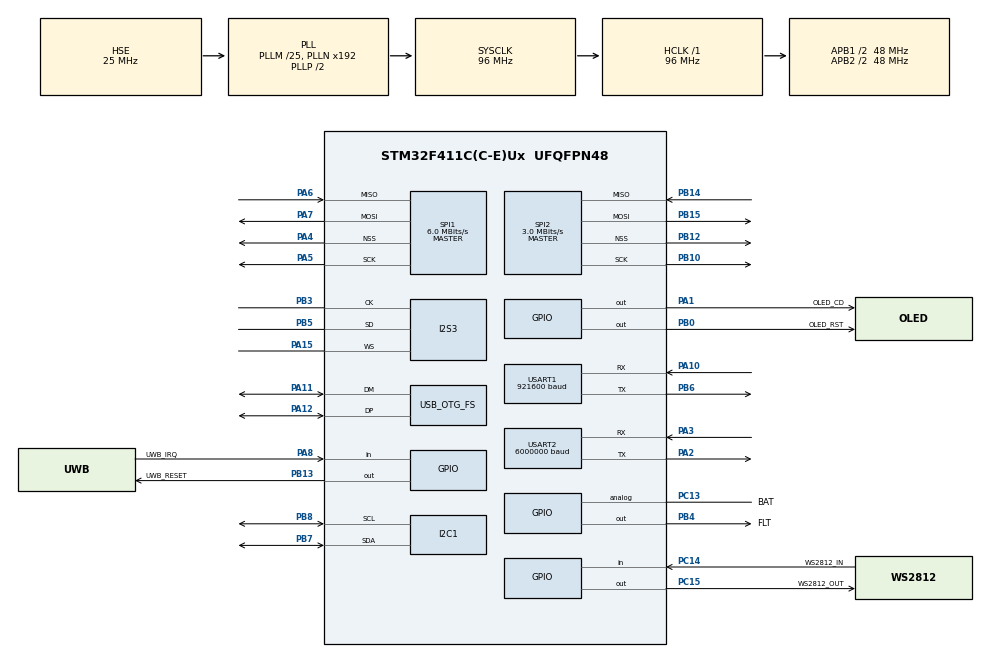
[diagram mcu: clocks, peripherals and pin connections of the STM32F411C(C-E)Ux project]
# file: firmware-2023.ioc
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ADC1.Channel-1\#ChannelRegularConversion=ADC_CHANNEL_VBAT
ADC1.NbrOfConversionFlag=1
ADC1.Rank-1\#ChannelRegularConversion=1
ADC1.SamplingTime-1\#ChannelRegularConversion=ADC_SAMPLETIME_3CYCLES
ADC1.master=1
Dma.MEMTOMEM.0.Direction=DMA_MEMORY_TO_MEMORY
Dma.MEMTOMEM.0.FIFOMode=DMA_FIFOMODE_ENABLE
Dma.MEMTOMEM.0.FIFOThreshold=DMA_FIFO_THRESHOLD_FULL
Dma.MEMTOMEM.0.Instance=DMA2_Stream0
Dma.MEMTOMEM.0.MemBurst=DMA_MBURST_SINGLE
Dma.MEMTOMEM.0.MemDataAlignment=DMA_MDATAALIGN_HALFWORD
Dma.MEMTOMEM.0.MemInc=DMA_MINC_DISABLE
Dma.MEMTOMEM.0.Mode=DMA_NORMAL
Dma.MEMTOMEM.0.PeriphBurst=DMA_PBURST_SINGLE
Dma.MEMTOMEM.0.PeriphDataAlignment=DMA_PDATAALIGN_HALFWORD
Dma.MEMTOMEM.0.PeriphInc=DMA_PINC_ENABLE
Dma.MEMTOMEM.0.Priority=DMA_PRIORITY_LOW
Dma.Request0=MEMTOMEM
Dma.Request1=SPI2_TX
Dma.Request2=SPI1_TX
Dma.Request3=SPI3_TX
Dma.Request4=USART2_RX
Dma.Request5=USART1_RX
Dma.Request6=USART1_TX
Dma.SPI1_TX.2.Direction=DMA_MEMORY_TO_PERIPH
Dma.SPI1_TX.2.FIFOMode=DMA_FIFOMODE_DISABLE
Dma.SPI1_TX.2.Instance=DMA2_Stream3
Dma.SPI1_TX.2.MemDataAlignment=DMA_MDATAALIGN_BYTE
Dma.SPI1_TX.2.MemInc=DMA_MINC_ENABLE
Dma.SPI1_TX.2.Mode=DMA_NORMAL
Dma.SPI1_TX.2.PeriphDataAlignment=DMA_PDATAALIGN_BYTE
Dma.SPI1_TX.2.PeriphInc=DMA_PINC_DISABLE
Dma.SPI1_TX.2.Priority=DMA_PRIORITY_LOW
Dma.SPI2_TX.1.Direction=DMA_MEMORY_TO_PERIPH
Dma.SPI2_TX.1.FIFOMode=DMA_FIFOMODE_DISABLE
Dma.SPI2_TX.1.Instance=DMA1_Stream4
Dma.SPI2_TX.1.MemDataAlignment=DMA_MDATAALIGN_BYTE
Dma.SPI2_TX.1.MemInc=DMA_MINC_ENABLE
Dma.SPI2_TX.1.Mode=DMA_NORMAL
Dma.SPI2_TX.1.PeriphDataAlignment=DMA_PDATAALIGN_BYTE
Dma.SPI2_TX.1.PeriphInc=DMA_PINC_DISABLE
Dma.SPI2_TX.1.Priority=DMA_PRIORITY_LOW
Dma.SPI3_TX.3.Direction=DMA_MEMORY_TO_PERIPH
Dma.SPI3_TX.3.FIFOMode=DMA_FIFOMODE_DISABLE
Dma.SPI3_TX.3.Instance=DMA1_Stream5
Dma.SPI3_TX.3.MemDataAlignment=DMA_MDATAALIGN_HALFWORD
Dma.SPI3_TX.3.MemInc=DMA_MINC_ENABLE
Dma.SPI3_TX.3.Mode=DMA_NORMAL
Dma.SPI3_TX.3.PeriphDataAlignment=DMA_PDATAALIGN_HALFWORD
Dma.SPI3_TX.3.PeriphInc=DMA_PINC_DISABLE
Dma.SPI3_TX.3.Priority=DMA_PRIORITY_LOW
Dma.USART1_RX.5.Direction=DMA_PERIPH_TO_MEMORY
Dma.USART1_RX.5.FIFOMode=DMA_FIFOMODE_DISABLE
Dma.USART1_RX.5.Instance=DMA2_Stream5
Dma.USART1_RX.5.MemDataAlignment=DMA_MDATAALIGN_BYTE
Dma.USART1_RX.5.MemInc=DMA_MINC_ENABLE
Dma.USART1_RX.5.Mode=DMA_CIRCULAR
Dma.USART1_RX.5.PeriphDataAlignment=DMA_PDATAALIGN_BYTE
Dma.USART1_RX.5.PeriphInc=DMA_PINC_DISABLE
Dma.USART1_RX.5.Priority=DMA_PRIORITY_LOW
Dma.USART1_TX.6.Direction=DMA_MEMORY_TO_PERIPH
Dma.USART1_TX.6.FIFOMode=DMA_FIFOMODE_DISABLE
Dma.USART1_TX.6.Instance=DMA2_Stream7
Dma.USART1_TX.6.MemDataAlignment=DMA_MDATAALIGN_BYTE
Dma.USART1_TX.6.MemInc=DMA_MINC_ENABLE
Dma.USART1_TX.6.Mode=DMA_NORMAL
Dma.USART1_TX.6.PeriphDataAlignment=DMA_PDATAALIGN_BYTE
Dma.USART1_TX.6.PeriphInc=DMA_PINC_DISABLE
Dma.USART1_TX.6.Priority=DMA_PRIORITY_LOW
Dma.USART2_RX.4.Direction=DMA_PERIPH_TO_MEMORY
Dma.USART2_RX.4.FIFOMode=DMA_FIFOMODE_DISABLE
Dma.USART2_RX.4.Instance=DMA1_Stream7
Dma.USART2_RX.4.MemDataAlignment=DMA_MDATAALIGN_BYTE
Dma.USART2_RX.4.MemInc=DMA_MINC_ENABLE
Dma.USART2_RX.4.Mode=DMA_CIRCULAR
Dma.USART2_RX.4.PeriphDataAlignment=DMA_PDATAALIGN_BYTE
Dma.USART2_RX.4.PeriphInc=DMA_PINC_DISABLE
Dma.USART2_RX.4.Priority=DMA_PRIORITY_LOW
I2C1.I2C_Mode=I2C_Fast
I2S3.AudioFreq=I2S_AUDIOFREQ_48K
I2S3.ErrorAudioFreq=0.0 %
I2S3.FullDuplexMode=I2S_FULLDUPLEXMODE_DISABLE
I2S3.Instance=SPI$Index
I2S3.RealAudioFreq=48.0 KHz
I2S3.VirtualMode=I2S_MODE_MASTER
Mcu.Family=STM32F4
Mcu.Name=STM32F411C(C-E)Ux
Mcu.Package=UFQFPN48
NVIC.DMA1_Stream4_IRQn=true\:0\:0\:false\:false\:true\:false\:true\:true
NVIC.DMA1_Stream5_IRQn=true\:0\:0\:false\:false\:true\:false\:true\:true
NVIC.DMA1_Stream7_IRQn=true\:0\:0\:false\:false\:true\:false\:true\:true
NVIC.DMA2_Stream3_IRQn=true\:0\:0\:false\:false\:true\:false\:true\:true
NVIC.DMA2_Stream5_IRQn=true\:0\:0\:false\:false\:true\:false\:true\:true
NVIC.DMA2_Stream7_IRQn=true\:0\:0\:false\:false\:true\:false\:true\:true
NVIC.OTG_FS_IRQn=true\:0\:0\:false\:false\:true\:false\:true\:true
NVIC.PriorityGroup=NVIC_PRIORITYGROUP_4
PA1.GPIO_Label=OLED_CD
PA1.Signal=GPIO_Output
PA10.Mode=Asynchronous
PA10.Signal=USART1_RX
PA11.Mode=Device_Only
PA11.Signal=USB_OTG_FS_DM
PA12.Mode=Device_Only
PA12.Signal=USB_OTG_FS_DP
PA13.Mode=Serial_Wire
PA13.Signal=SYS_JTMS-SWDIO
PA14.Mode=Serial_Wire
PA14.Signal=SYS_JTCK-SWCLK
PA15.Mode=Half_Duplex_Master
PA15.Signal=I2S3_WS
PA2.Mode=Asynchronous
PA2.Signal=USART2_TX
PA3.Mode=Asynchronous
PA3.Signal=USART2_RX
PA4.Mode=NSS_Signal_Hard_Output
PA4.Signal=SPI1_NSS
PA5.Mode=Full_Duplex_Master
PA5.Signal=SPI1_SCK
PA6.Mode=Full_Duplex_Master
PA6.Signal=SPI1_MISO
PA7.Mode=Full_Duplex_Master
PA7.Signal=SPI1_MOSI
PA8.GPIO_Label=UWB_IRQ
PA8.Signal=GPIO_Input
PA9.Signal=USB_OTG_FS_VBUS
PB0.GPIO_Label=OLED_RST
PB0.Signal=GPIO_Output
PB10.Mode=Full_Duplex_Master
PB10.Signal=SPI2_SCK
PB12.Mode=NSS_Signal_Hard_Output
PB12.Signal=SPI2_NSS
PB13.GPIO_Label=UWB_RESET
PB13.Signal=GPIO_Output
PB14.Mode=Full_Duplex_Master
PB14.Signal=SPI2_MISO
PB15.Mode=Full_Duplex_Master
PB15.Signal=SPI2_MOSI
PB3.Mode=Half_Duplex_Master
PB3.Signal=I2S3_CK
PB4.GPIO_Label=FLT
PB4.Signal=GPIO_Output
PB5.Mode=Half_Duplex_Master
PB5.Signal=I2S3_SD
PB6.Mode=Asynchronous
PB6.Signal=USART1_TX
PB7.GPIO_Pu=GPIO_PULLUP
PB7.Mode=I2C
PB7.Signal=I2C1_SDA
PB8.GPIO_Pu=GPIO_PULLUP
PB8.Mode=I2C
PB8.Signal=I2C1_SCL
PC13-ANTI_TAMP.GPIO_Label=BAT
PC13-ANTI_TAMP.Signal=GPIO_Analog
PC14-OSC32_IN.GPIO_Label=WS2812_IN
PC14-OSC32_IN.Signal=GPIO_Input
PC15-OSC32_OUT.GPIO_Label=WS2812_OUT
PC15-OSC32_OUT.Signal=GPIO_Output
PH0\ -\ OSC_IN.Mode=HSE-External-Oscillator
PH0\ -\ OSC_IN.Signal=RCC_OSC_IN
PH1\ -\ OSC_OUT.Mode=HSE-External-Oscillator
PH1\ -\ OSC_OUT.Signal=RCC_OSC_OUT
ProjectManager.HeapSize=0x400
ProjectManager.StackSize=0x400
ProjectManager.TargetToolchain=Makefile
RCC.48MHZClocksFreq_Value=48000000
RCC.AHBFreq_Value=96000000
RCC.APB1CLKDivider=RCC_HCLK_DIV2
RCC.APB1Freq_Value=48000000
RCC.APB1TimFreq_Value=96000000
RCC.APB2CLKDivider=RCC_HCLK_DIV2
RCC.APB2Freq_Value=48000000
RCC.APB2TimFreq_Value=96000000
RCC.CortexFreq_Value=96000000
RCC.HCLKFreq_Value=96000000
RCC.HSE_VALUE=25000000
RCC.HSI_VALUE=16000000
RCC.LSE_VALUE=32768
RCC.PLLI2SM=25
RCC.PLLI2SN=384
RCC.PLLM=25
RCC.SYSCLKFreq_VALUE=96000000
RCC.SYSCLKSource=RCC_SYSCLKSOURCE_PLLCLK
RCC.VCOOutputFreq_Value=192000000
SPI1.BaudRatePrescaler=SPI_BAUDRATEPRESCALER_8
SPI1.CalculateBaudRate=6.0 MBits/s
SPI1.Direction=SPI_DIRECTION_2LINES
SPI1.Mode=SPI_MODE_MASTER
SPI1.VirtualNSS=VM_NSSHARD
SPI1.VirtualType=VM_MASTER
SPI2.BaudRatePrescaler=SPI_BAUDRATEPRESCALER_16
SPI2.CalculateBaudRate=3.0 MBits/s
SPI2.Direction=SPI_DIRECTION_2LINES
SPI2.Mode=SPI_MODE_MASTER
SPI2.VirtualNSS=VM_NSSHARD
SPI2.VirtualType=VM_MASTER
USART1.BaudRate=921600
USART1.Mode=MODE_TX_RX
USART1.OverSampling=UART_OVERSAMPLING_8
USART1.VirtualMode=VM_ASYNC
USART2.BaudRate=6000000
USART2.Mode=MODE_TX_RX
USART2.OverSampling=UART_OVERSAMPLING_8
USART2.VirtualMode=VM_ASYNC
USB_DEVICE.CLASS_NAME_FS=AUDIO
USB_DEVICE.MANUFACTURER_STRING=LeekLabs International
USB_DEVICE.PID_AUDIO_FS=14649
USB_DEVICE.PRODUCT_STRING_AUDIO_FS=Negicon
USB_DEVICE.USBD_AUDIO_FREQ=48000
USB_DEVICE.VID=14649
USB_DEVICE.VirtualMode=Audio
USB_DEVICE.VirtualModeFS=Audio_FS
USB_OTG_FS.VirtualMode=Device_Only
VP_ADC1_Vbat_Input.Mode=IN-Vbat
VP_TIM1_VS_ClockSourceINT.Mode=Internal
VP_USB_DEVICE_VS_USB_DEVICE_AUDIO_FS.Mode=AUDIO_FS
board=custom

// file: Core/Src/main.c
/* USER CODE BEGIN Header */
/**
  ******************************************************************************
  * @file           : main.c
  * @brief          : Main program body
  ******************************************************************************
  * @attention
  *
  * Copyright (c) 2023 STMicroelectronics.
  * All rights reserved.
  *
  * This software is licensed under terms that can be found in the LICENSE file
  * in the root directory of this software component.
  * If no LICENSE file comes with this software, it is provided AS-IS.
  *
  ******************************************************************************
  */
/* USER CODE END Header */
#include "main.h"
#include "usb_device.h"

/* USER CODE BEGIN Includes */
#include <stdio.h>
#include <stdint.h>
/* USER CODE END Includes */

ADC_HandleTypeDef hadc1;

I2C_HandleTypeDef hi2c1;

I2S_HandleTypeDef hi2s3;
DMA_HandleTypeDef hdma_spi3_tx;

SPI_HandleTypeDef hspi1;
SPI_HandleTypeDef hspi2;
DMA_HandleTypeDef hdma_spi1_tx;
DMA_HandleTypeDef hdma_spi2_tx;

TIM_HandleTypeDef htim1;

UART_HandleTypeDef huart1;
UART_HandleTypeDef huart2;
DMA_HandleTypeDef hdma_usart1_rx;
DMA_HandleTypeDef hdma_usart1_tx;
DMA_HandleTypeDef hdma_usart2_rx;

DMA_HandleTypeDef hdma_memtomem_dma2_stream0;

void SystemClock_Config(void);
static void MX_GPIO_Init(void);
static void MX_DMA_Init(void);
static void MX_SPI2_Init(void);
static void MX_ADC1_Init(void);
static void MX_I2C1_Init(void);
static void MX_SPI1_Init(void);
static void MX_I2S3_Init(void);
static void MX_TIM1_Init(void);
static void MX_USART1_UART_Init(void);
static void MX_USART2_UART_Init(void);
/* USER CODE BEGIN PFP */
#ifdef __GNUC__
#define PUTCHAR_PROTOTYPE int __io_putchar(int ch)
#else
#define PUTCHAR_PROTOTYPE int fputc(int ch, FILE *f)
#endif

PUTCHAR_PROTOTYPE
{
  HAL_UART_Transmit(&huart1, (uint8_t *)&ch, 1, HAL_MAX_DELAY);
  return ch;
}
/* USER CODE END PFP */

/* USER CODE BEGIN 0 */
uint8_t uart_rxbuf[32];
uint8_t uart_rx_ptr = 0;

/* USER CODE END 0 */

int main(void)
{

  /* MCU Configuration--------------------------------------------------------*/

  /* Reset of all peripherals, Initializes the Flash interface and the Systick. */
  HAL_Init();

  /* Configure the system clock */
  SystemClock_Config();

  /* Initialize all configured peripherals */
  MX_GPIO_Init();
  MX_DMA_Init();
  MX_SPI2_Init();
  MX_ADC1_Init();
  MX_I2C1_Init();
  MX_SPI1_Init();
  MX_I2S3_Init();
  MX_TIM1_Init();
  MX_USB_DEVICE_Init();
  MX_USART1_UART_Init();
  MX_USART2_UART_Init();

  /* Infinite loop */
  /* USER CODE BEGIN WHILE */
    memset(uart_rxbuf, 0xff, sizeof(uart_rxbuf));
    //INFO("setup inputs. dmaschtuff")
    HAL_UART_Receive_DMA(&huart1, uart_rxbuf, sizeof(uart_rxbuf));

  while (1)
  {
      if(uart_rxbuf[uart_rx_ptr] != 0x0){
        uint8_t res = uart_rxbuf[uart_rx_ptr];
        uart_rxbuf[uart_rx_ptr] = 0x0;
        uart_rx_ptr++;
        printf("in1: %hx\r\n", res);
        uart_rx_ptr %= sizeof(uart_rxbuf);
      }

    flush();
//    HAL_Delay(500);
    /* USER CODE END WHILE */

  }
}

void SystemClock_Config(void)
{
  RCC_OscInitTypeDef RCC_OscInitStruct = {0};
  RCC_ClkInitTypeDef RCC_ClkInitStruct = {0};

  /** Configure the main internal regulator output voltage
  */
  __HAL_RCC_PWR_CLK_ENABLE();
  __HAL_PWR_VOLTAGESCALING_CONFIG(PWR_REGULATOR_VOLTAGE_SCALE1);

  /** Initializes the RCC Oscillators according to the specified parameters
  * in the RCC_OscInitTypeDef structure.
  */
  RCC_OscInitStruct.OscillatorType = RCC_OSCILLATORTYPE_HSE;
  RCC_OscInitStruct.HSEState = RCC_HSE_ON;
  RCC_OscInitStruct.PLL.PLLState = RCC_PLL_ON;
  RCC_OscInitStruct.PLL.PLLSource = RCC_PLLSOURCE_HSE;
  RCC_OscInitStruct.PLL.PLLM = 25;
  RCC_OscInitStruct.PLL.PLLN = 192;
  RCC_OscInitStruct.PLL.PLLP = RCC_PLLP_DIV2;
  RCC_OscInitStruct.PLL.PLLQ = 4;
  if (HAL_RCC_OscConfig(&RCC_OscInitStruct) != HAL_OK)
  {
    Error_Handler();
  }

  /** Initializes the CPU, AHB and APB buses clocks
  */
  RCC_ClkInitStruct.ClockType = RCC_CLOCKTYPE_HCLK|RCC_CLOCKTYPE_SYSCLK
                              |RCC_CLOCKTYPE_PCLK1|RCC_CLOCKTYPE_PCLK2;
  RCC_ClkInitStruct.SYSCLKSource = RCC_SYSCLKSOURCE_PLLCLK;
  RCC_ClkInitStruct.AHBCLKDivider = RCC_SYSCLK_DIV1;
  RCC_ClkInitStruct.APB1CLKDivider = RCC_HCLK_DIV2;
  RCC_ClkInitStruct.APB2CLKDivider = RCC_HCLK_DIV2;

  if (HAL_RCC_ClockConfig(&RCC_ClkInitStruct, FLASH_LATENCY_3) != HAL_OK)
  {
    Error_Handler();
  }
}

static void MX_ADC1_Init(void)
{

  ADC_ChannelConfTypeDef sConfig = {0};

  /** Configure the global features of the ADC (Clock, Resolution, Data Alignment and number of conversion)
  */
  hadc1.Instance = ADC1;
  hadc1.Init.ClockPrescaler = ADC_CLOCK_SYNC_PCLK_DIV2;
  hadc1.Init.Resolution = ADC_RESOLUTION_12B;
  hadc1.Init.ScanConvMode = DISABLE;
  hadc1.Init.ContinuousConvMode = DISABLE;
  hadc1.Init.DiscontinuousConvMode = DISABLE;
  hadc1.Init.ExternalTrigConvEdge = ADC_EXTERNALTRIGCONVEDGE_NONE;
  hadc1.Init.ExternalTrigConv = ADC_SOFTWARE_START;
  hadc1.Init.DataAlign = ADC_DATAALIGN_RIGHT;
  hadc1.Init.NbrOfConversion = 1;
  hadc1.Init.DMAContinuousRequests = DISABLE;
  hadc1.Init.EOCSelection = ADC_EOC_SINGLE_CONV;
  if (HAL_ADC_Init(&hadc1) != HAL_OK)
  {
    Error_Handler();
  }

  /** Configure for the selected ADC regular channel its corresponding rank in the sequencer and its sample time.
  */
  sConfig.Channel = ADC_CHANNEL_VBAT;
  sConfig.Rank = 1;
  sConfig.SamplingTime = ADC_SAMPLETIME_3CYCLES;
  if (HAL_ADC_ConfigChannel(&hadc1, &sConfig) != HAL_OK)
  {
    Error_Handler();
  }

}

static void MX_I2C1_Init(void)
{

  hi2c1.Instance = I2C1;
  hi2c1.Init.ClockSpeed = 400000;
  hi2c1.Init.DutyCycle = I2C_DUTYCYCLE_2;
  hi2c1.Init.OwnAddress1 = 0;
  hi2c1.Init.AddressingMode = I2C_ADDRESSINGMODE_7BIT;
  hi2c1.Init.DualAddressMode = I2C_DUALADDRESS_DISABLE;
  hi2c1.Init.OwnAddress2 = 0;
  hi2c1.Init.GeneralCallMode = I2C_GENERALCALL_DISABLE;
  hi2c1.Init.NoStretchMode = I2C_NOSTRETCH_DISABLE;
  if (HAL_I2C_Init(&hi2c1) != HAL_OK)
  {
    Error_Handler();
  }

}

static void MX_I2S3_Init(void)
{

  hi2s3.Instance = SPI3;
  hi2s3.Init.Mode = I2S_MODE_MASTER_TX;
  hi2s3.Init.Standard = I2S_STANDARD_PHILIPS;
  hi2s3.Init.DataFormat = I2S_DATAFORMAT_16B;
  hi2s3.Init.MCLKOutput = I2S_MCLKOUTPUT_DISABLE;
  hi2s3.Init.AudioFreq = I2S_AUDIOFREQ_48K;
  hi2s3.Init.CPOL = I2S_CPOL_LOW;
  hi2s3.Init.ClockSource = I2S_CLOCK_PLL;
  hi2s3.Init.FullDuplexMode = I2S_FULLDUPLEXMODE_DISABLE;
  if (HAL_I2S_Init(&hi2s3) != HAL_OK)
  {
    Error_Handler();
  }

}

static void MX_SPI1_Init(void)
{

  /* SPI1 parameter configuration*/
  hspi1.Instance = SPI1;
  hspi1.Init.Mode = SPI_MODE_MASTER;
  hspi1.Init.Direction = SPI_DIRECTION_2LINES;
  hspi1.Init.DataSize = SPI_DATASIZE_8BIT;
  hspi1.Init.CLKPolarity = SPI_POLARITY_LOW;
  hspi1.Init.CLKPhase = SPI_PHASE_1EDGE;
  hspi1.Init.NSS = SPI_NSS_HARD_OUTPUT;
  hspi1.Init.BaudRatePrescaler = SPI_BAUDRATEPRESCALER_8;
  hspi1.Init.FirstBit = SPI_FIRSTBIT_MSB;
  hspi1.Init.TIMode = SPI_TIMODE_DISABLE;
  hspi1.Init.CRCCalculation = SPI_CRCCALCULATION_DISABLE;
  hspi1.Init.CRCPolynomial = 10;
  if (HAL_SPI_Init(&hspi1) != HAL_OK)
  {
    Error_Handler();
  }

}

static void MX_SPI2_Init(void)
{

  /* SPI2 parameter configuration*/
  hspi2.Instance = SPI2;
  hspi2.Init.Mode = SPI_MODE_MASTER;
  hspi2.Init.Direction = SPI_DIRECTION_2LINES;
  hspi2.Init.DataSize = SPI_DATASIZE_8BIT;
  hspi2.Init.CLKPolarity = SPI_POLARITY_LOW;
  hspi2.Init.CLKPhase = SPI_PHASE_1EDGE;
  hspi2.Init.NSS = SPI_NSS_HARD_OUTPUT;
  hspi2.Init.BaudRatePrescaler = SPI_BAUDRATEPRESCALER_16;
  hspi2.Init.FirstBit = SPI_FIRSTBIT_MSB;
  hspi2.Init.TIMode = SPI_TIMODE_DISABLE;
  hspi2.Init.CRCCalculation = SPI_CRCCALCULATION_DISABLE;
  hspi2.Init.CRCPolynomial = 10;
  if (HAL_SPI_Init(&hspi2) != HAL_OK)
  {
    Error_Handler();
  }

}

static void MX_TIM1_Init(void)
{

  TIM_ClockConfigTypeDef sClockSourceConfig = {0};
  TIM_MasterConfigTypeDef sMasterConfig = {0};

  htim1.Instance = TIM1;
  htim1.Init.Prescaler = 0;
  htim1.Init.CounterMode = TIM_COUNTERMODE_UP;
  htim1.Init.Period = 65535;
  htim1.Init.ClockDivision = TIM_CLOCKDIVISION_DIV1;
  htim1.Init.RepetitionCounter = 0;
  htim1.Init.AutoReloadPreload = TIM_AUTORELOAD_PRELOAD_DISABLE;
  if (HAL_TIM_Base_Init(&htim1) != HAL_OK)
  {
    Error_Handler();
  }
  sClockSourceConfig.ClockSource = TIM_CLOCKSOURCE_INTERNAL;
  if (HAL_TIM_ConfigClockSource(&htim1, &sClockSourceConfig) != HAL_OK)
  {
    Error_Handler();
  }
  sMasterConfig.MasterOutputTrigger = TIM_TRGO_RESET;
  sMasterConfig.MasterSlaveMode = TIM_MASTERSLAVEMODE_DISABLE;
  if (HAL_TIMEx_MasterConfigSynchronization(&htim1, &sMasterConfig) != HAL_OK)
  {
    Error_Handler();
  }

}

static void MX_USART1_UART_Init(void)
{

  huart1.Instance = USART1;
  huart1.Init.BaudRate = 921600;
  huart1.Init.WordLength = UART_WORDLENGTH_8B;
  huart1.Init.StopBits = UART_STOPBITS_1;
  huart1.Init.Parity = UART_PARITY_NONE;
  huart1.Init.Mode = UART_MODE_TX_RX;
  huart1.Init.HwFlowCtl = UART_HWCONTROL_NONE;
  huart1.Init.OverSampling = UART_OVERSAMPLING_8;
  if (HAL_UART_Init(&huart1) != HAL_OK)
  {
    Error_Handler();
  }

}

static void MX_USART2_UART_Init(void)
{

  huart2.Instance = USART2;
  huart2.Init.BaudRate = 6000000;
  huart2.Init.WordLength = UART_WORDLENGTH_8B;
  huart2.Init.StopBits = UART_STOPBITS_1;
  huart2.Init.Parity = UART_PARITY_NONE;
  huart2.Init.Mode = UART_MODE_TX_RX;
  huart2.Init.HwFlowCtl = UART_HWCONTROL_NONE;
  huart2.Init.OverSampling = UART_OVERSAMPLING_8;
  if (HAL_UART_Init(&huart2) != HAL_OK)
  {
    Error_Handler();
  }

}

static void MX_DMA_Init(void)
{

  /* DMA controller clock enable */
  __HAL_RCC_DMA2_CLK_ENABLE();
  __HAL_RCC_DMA1_CLK_ENABLE();

  /* Configure DMA request hdma_memtomem_dma2_stream0 on DMA2_Stream0 */
  hdma_memtomem_dma2_stream0.Instance = DMA2_Stream0;
  hdma_memtomem_dma2_stream0.Init.Channel = DMA_CHANNEL_0;
  hdma_memtomem_dma2_stream0.Init.Direction = DMA_MEMORY_TO_MEMORY;
  hdma_memtomem_dma2_stream0.Init.PeriphInc = DMA_PINC_ENABLE;
  hdma_memtomem_dma2_stream0.Init.MemInc = DMA_MINC_DISABLE;
  hdma_memtomem_dma2_stream0.Init.PeriphDataAlignment = DMA_PDATAALIGN_HALFWORD;
  hdma_memtomem_dma2_stream0.Init.MemDataAlignment = DMA_MDATAALIGN_HALFWORD;
  hdma_memtomem_dma2_stream0.Init.Mode = DMA_NORMAL;
  hdma_memtomem_dma2_stream0.Init.Priority = DMA_PRIORITY_LOW;
  hdma_memtomem_dma2_stream0.Init.FIFOMode = DMA_FIFOMODE_ENABLE;
  hdma_memtomem_dma2_stream0.Init.FIFOThreshold = DMA_FIFO_THRESHOLD_FULL;
  hdma_memtomem_dma2_stream0.Init.MemBurst = DMA_MBURST_SINGLE;
  hdma_memtomem_dma2_stream0.Init.PeriphBurst = DMA_PBURST_SINGLE;
  if (HAL_DMA_Init(&hdma_memtomem_dma2_stream0) != HAL_OK)
  {
    Error_Handler( );
  }

  /* DMA interrupt init */
  /* DMA1_Stream4_IRQn interrupt configuration */
  HAL_NVIC_SetPriority(DMA1_Stream4_IRQn, 0, 0);
  HAL_NVIC_EnableIRQ(DMA1_Stream4_IRQn);
  /* DMA1_Stream5_IRQn interrupt configuration */
  HAL_NVIC_SetPriority(DMA1_Stream5_IRQn, 0, 0);
  HAL_NVIC_EnableIRQ(DMA1_Stream5_IRQn);
  /* DMA1_Stream7_IRQn interrupt configuration */
  HAL_NVIC_SetPriority(DMA1_Stream7_IRQn, 0, 0);
  HAL_NVIC_EnableIRQ(DMA1_Stream7_IRQn);
  /* DMA2_Stream3_IRQn interrupt configuration */
  HAL_NVIC_SetPriority(DMA2_Stream3_IRQn, 0, 0);
  HAL_NVIC_EnableIRQ(DMA2_Stream3_IRQn);
  /* DMA2_Stream5_IRQn interrupt configuration */
  HAL_NVIC_SetPriority(DMA2_Stream5_IRQn, 0, 0);
  HAL_NVIC_EnableIRQ(DMA2_Stream5_IRQn);
  /* DMA2_Stream7_IRQn interrupt configuration */
  HAL_NVIC_SetPriority(DMA2_Stream7_IRQn, 0, 0);
  HAL_NVIC_EnableIRQ(DMA2_Stream7_IRQn);

}

static void MX_GPIO_Init(void)
{
  GPIO_InitTypeDef GPIO_InitStruct = {0};

  /* GPIO Ports Clock Enable */
  __HAL_RCC_GPIOC_CLK_ENABLE();
  __HAL_RCC_GPIOH_CLK_ENABLE();
  __HAL_RCC_GPIOA_CLK_ENABLE();
  __HAL_RCC_GPIOB_CLK_ENABLE();

  /*Configure GPIO pin Output Level */
  HAL_GPIO_WritePin(WS2812_OUT_GPIO_Port, WS2812_OUT_Pin, GPIO_PIN_RESET);

  /*Configure GPIO pin Output Level */
  HAL_GPIO_WritePin(OLED_CD_GPIO_Port, OLED_CD_Pin, GPIO_PIN_RESET);

  /*Configure GPIO pin Output Level */
  HAL_GPIO_WritePin(GPIOB, OLED_RST_Pin|UWB_RESET_Pin|FLT_Pin, GPIO_PIN_RESET);

  /*Configure GPIO pin : BAT_Pin */
  GPIO_InitStruct.Pin = BAT_Pin;
  GPIO_InitStruct.Mode = GPIO_MODE_ANALOG;
  GPIO_InitStruct.Pull = GPIO_NOPULL;
  HAL_GPIO_Init(BAT_GPIO_Port, &GPIO_InitStruct);

  /*Configure GPIO pin : WS2812_IN_Pin */
  GPIO_InitStruct.Pin = WS2812_IN_Pin;
  GPIO_InitStruct.Mode = GPIO_MODE_INPUT;
  GPIO_InitStruct.Pull = GPIO_NOPULL;
  HAL_GPIO_Init(WS2812_IN_GPIO_Port, &GPIO_InitStruct);

  /*Configure GPIO pin : WS2812_OUT_Pin */
  GPIO_InitStruct.Pin = WS2812_OUT_Pin;
  GPIO_InitStruct.Mode = GPIO_MODE_OUTPUT_PP;
  GPIO_InitStruct.Pull = GPIO_NOPULL;
  GPIO_InitStruct.Speed = GPIO_SPEED_FREQ_LOW;
  HAL_GPIO_Init(WS2812_OUT_GPIO_Port, &GPIO_InitStruct);

  /*Configure GPIO pin : OLED_CD_Pin */
  GPIO_InitStruct.Pin = OLED_CD_Pin;
  GPIO_InitStruct.Mode = GPIO_MODE_OUTPUT_PP;
  GPIO_InitStruct.Pull = GPIO_NOPULL;
  GPIO_InitStruct.Speed = GPIO_SPEED_FREQ_LOW;
  HAL_GPIO_Init(OLED_CD_GPIO_Port, &GPIO_InitStruct);

  /*Configure GPIO pins : OLED_RST_Pin UWB_RESET_Pin FLT_Pin */
  GPIO_InitStruct.Pin = OLED_RST_Pin|UWB_RESET_Pin|FLT_Pin;
  GPIO_InitStruct.Mode = GPIO_MODE_OUTPUT_PP;
  GPIO_InitStruct.Pull = GPIO_NOPULL;
  GPIO_InitStruct.Speed = GPIO_SPEED_FREQ_LOW;
  HAL_GPIO_Init(GPIOB, &GPIO_InitStruct);

  /*Configure GPIO pin : UWB_IRQ_Pin */
  GPIO_InitStruct.Pin = UWB_IRQ_Pin;
  GPIO_InitStruct.Mode = GPIO_MODE_INPUT;
  GPIO_InitStruct.Pull = GPIO_NOPULL;
  HAL_GPIO_Init(UWB_IRQ_GPIO_Port, &GPIO_InitStruct);

}

void Error_Handler(void)
{
  __disable_irq();
  while (1)
  {
  }
}
